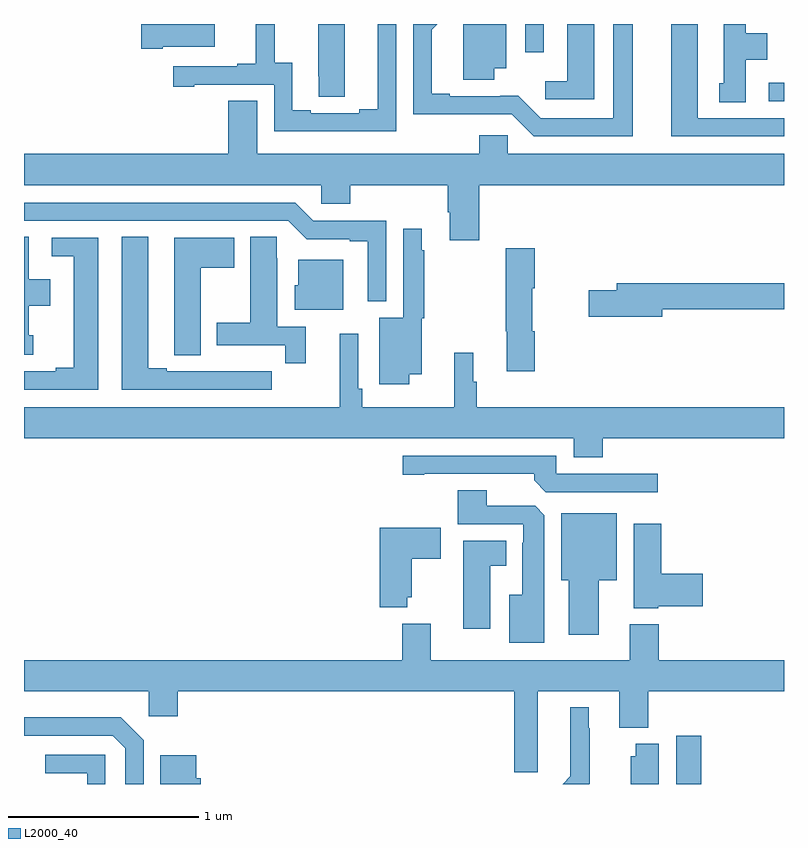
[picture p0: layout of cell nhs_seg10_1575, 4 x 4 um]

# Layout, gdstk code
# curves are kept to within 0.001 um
import gdstk
lib = gdstk.Library(unit=1e-6, precision=1e-09)
def R(c, l, rs):  # rectangles x0, y0, x1, y1
    for r in rs: c.add(gdstk.rectangle(r[:2], r[2:], *l))
def P(c, l, *ps):  # polygons
    for p in ps: c.add(gdstk.Polygon(p, *l))
L2000_40 = (2000, 40)

nhs_seg10_1575 = lib.new_cell('nhs_seg10_1575')
R(nhs_seg10_1575, L2000_40, [(196.433,1294.5,196.565,1294.753), (196.92,1298.094,197,1298.19), (195.639,1298.352,195.735,1298.5)])
P(nhs_seg10_1575, L2000_40, [(197,1298.004),(196.546,1298.004),(196.546,1298.5),(196.406,1298.5),(196.406,1297.908),(197,1297.908)],
  [(195.475,1298.267),(195.538,1298.267),(195.538,1298.5),(195.311,1298.5),(195.311,1298.206),(195.475,1298.206)],
  [(194.958,1298.5),(194.861,1298.5),(194.861,1298.051),(194.765,1298.051),(194.765,1298.031),(194.509,1298.031),(194.509,1298.046),(194.413,1298.046),(194.413,1298.297),(194.319,1298.297),(194.319,1298.5),(194.219,1298.5),(194.219,1298.29),(194.123,1298.29),(194.123,1298.277),(193.785,1298.277),(193.785,1298.169),(193.897,1298.169),(193.897,1298.181),(194.316,1298.181),(194.316,1297.935),(194.958,1297.935)],
  [(194.689,1298.5),(194.549,1298.5),(194.549,1298.224),(194.55,1298.224),(194.55,1298.116),(194.689,1298.116)],
  [(196,1298.5),(195.86,1298.5),(195.86,1298.2),(195.744,1298.2),(195.744,1298.103),(196,1298.103)],
  [(193.729,1298.381),(194.005,1298.381),(194.005,1298.5),(193.617,1298.5),(193.617,1298.369),(193.729,1298.369)],
  [(196.798,1298.312),(196.912,1298.312),(196.912,1298.452),(196.798,1298.452),(196.798,1298.5),(196.682,1298.5),(196.682,1298.187),(196.658,1298.187),(196.658,1298.089),(196.798,1298.089)],
  [(196.204,1298.5),(196.1,1298.5),(196.1,1298.004),(195.72,1298.004),(195.602,1298.122),(195.241,1298.121),(195.241,1298.134),(195.145,1298.134),(195.145,1298.47),(195.175,1298.5),(195.048,1298.5),(195.048,1298.024),(195.567,1298.025),(195.684,1297.908),(196.204,1297.908)],
  [(195.395,1297.652),(197,1297.652),(197,1297.816),(195.546,1297.816),(195.546,1297.914),(195.395,1297.914),(195.395,1297.816),(194.227,1297.816),(194.227,1298.096),(194.075,1298.096),(194.075,1297.816),(193,1297.816),(193,1297.652),(194.565,1297.652),(194.565,1297.554),(194.717,1297.554),(194.717,1297.652),(195.23,1297.652),(195.23,1297.51),(195.242,1297.51),(195.242,1297.362),(195.395,1297.362)],
  [(194.907,1297.464),(194.523,1297.464),(194.427,1297.56),(193,1297.56),(193,1297.464),(194.391,1297.464),(194.487,1297.368),(194.714,1297.368),(194.714,1297.356),(194.81,1297.356),(194.81,1297.04),(194.907,1297.04)],
  [(195.028,1296.656),(195.094,1296.656),(195.094,1296.951),(195.106,1296.951),(195.106,1297.31),(195.094,1297.31),(195.094,1297.423),(194.997,1297.423),(194.997,1296.955),(194.87,1296.955),(194.87,1296.603),(195.028,1296.603)],
  [(193.048,1296.861),(193.024,1296.861),(193.024,1297.016),(193.138,1297.016),(193.138,1297.156),(193.024,1297.156),(193.024,1297.379),(193,1297.379),(193,1296.759),(193.048,1296.759)],
  [(194.305,1296.672),(194.192,1296.672),(194.192,1296.673),(194.026,1296.673),(194.026,1296.672),(193.75,1296.672),(193.75,1296.687),(193.654,1296.687),(193.654,1297.379),(193.514,1297.379),(193.514,1296.576),(194.305,1296.576)],
  [(194.483,1296.906),(194.332,1296.906),(194.332,1297.268),(194.331,1297.268),(194.331,1297.379),(194.192,1297.379),(194.192,1296.927),(194.015,1296.927),(194.015,1296.81),(194.374,1296.81),(194.374,1296.714),(194.483,1296.714)],
  [(193.93,1297.216),(194.107,1297.216),(194.107,1297.375),(193.79,1297.375),(193.79,1296.865),(193.791,1296.865),(193.791,1296.757),(193.93,1296.757)],
  [(193.39,1297.374),(193.146,1297.374),(193.146,1297.278),(193.262,1297.278),(193.262,1296.692),(193.166,1296.692),(193.166,1296.672),(193,1296.672),(193,1296.576),(193.39,1296.576)],
  [(195.689,1296.884),(195.676,1296.884),(195.676,1297.108),(195.689,1297.108),(195.689,1297.321),(195.535,1297.321),(195.535,1296.884),(195.542,1296.884),(195.542,1296.672),(195.689,1296.672)],
  [(194.68,1297.258),(194.444,1297.258),(194.444,1297.125),(194.426,1297.125),(194.426,1296.995),(194.68,1296.995)],
  [(196.36,1297),(197,1297),(197,1297.136),(196.121,1297.136),(196.121,1297.1),(195.972,1297.1),(195.972,1296.958),(196.36,1296.958)],
  [(196.046,1296.32),(197,1296.32),(197,1296.484),(195.383,1296.484),(195.383,1296.618),(195.364,1296.618),(195.364,1296.769),(195.265,1296.769),(195.265,1296.484),(194.78,1296.484),(194.78,1296.58),(194.76,1296.58),(194.76,1296.871),(194.663,1296.871),(194.663,1296.484),(193,1296.484),(193,1296.32),(195.893,1296.32),(195.893,1296.221),(196.046,1296.221)],
  [(196.336,1296.132),(195.801,1296.132),(195.801,1296.228),(194.994,1296.228),(194.994,1296.127),(195.106,1296.127),(195.106,1296.132),(195.686,1296.132),(195.686,1296.098),(195.747,1296.036),(196.336,1296.036)],
  [(195.739,1295.915),(195.69,1295.964),(195.436,1295.964),(195.436,1296.047),(195.284,1296.047),(195.284,1295.868),(195.627,1295.868),(195.627,1295.771),(195.623,1295.771),(195.623,1295.497),(195.554,1295.497),(195.554,1295.243),(195.739,1295.243)],
  [(196.024,1295.573),(196.12,1295.573),(196.12,1295.926),(195.827,1295.926),(195.827,1295.573),(195.866,1295.573),(195.866,1295.286),(196.024,1295.286)],
  [(196.338,1295.435),(196.573,1295.435),(196.573,1295.606),(196.355,1295.606),(196.355,1295.869),(196.208,1295.869),(196.208,1295.426),(196.338,1295.426)],
  [(195.018,1295.483),(195.04,1295.483),(195.04,1295.686),(195.193,1295.686),(195.193,1295.848),(194.873,1295.848),(194.873,1295.429),(195.018,1295.429)],
  [(195.454,1295.648),(195.538,1295.648),(195.538,1295.779),(195.311,1295.779),(195.311,1295.316),(195.454,1295.316)],
  [(195.703,1294.988),(196.133,1294.988),(196.133,1294.796),(196.286,1294.796),(196.286,1294.988),(197,1294.988),(197,1295.152),(196.34,1295.152),(196.34,1295.341),(196.187,1295.341),(196.187,1295.152),(195.142,1295.152),(195.142,1295.344),(194.99,1295.344),(194.99,1295.152),(193,1295.152),(193,1294.988),(193.656,1294.988),(193.656,1294.857),(193.808,1294.857),(193.808,1294.988),(195.581,1294.988),(195.581,1294.563),(195.703,1294.563)],
  [(195.977,1294.502),(195.977,1294.793),(195.973,1294.793),(195.973,1294.903),(195.875,1294.903),(195.875,1294.642),(195.876,1294.642),(195.876,1294.54),(195.836,1294.5),(195.975,1294.5)],
  [(193.629,1294.731),(193.508,1294.852),(193,1294.852),(193,1294.755),(193.467,1294.755),(193.533,1294.689),(193.533,1294.5),(193.629,1294.5)],
  [(196.342,1294.711),(196.22,1294.711),(196.22,1294.647),(196.193,1294.647),(196.193,1294.5),(196.342,1294.5)],
  [(193.428,1294.653),(193.113,1294.653),(193.113,1294.557),(193.332,1294.557),(193.332,1294.5),(193.428,1294.5)],
  [(193.931,1294.53),(193.906,1294.53),(193.906,1294.651),(193.718,1294.651),(193.718,1294.5),(193.931,1294.5)])

lib.write_gds('nhs_seg10_1575.gds')
